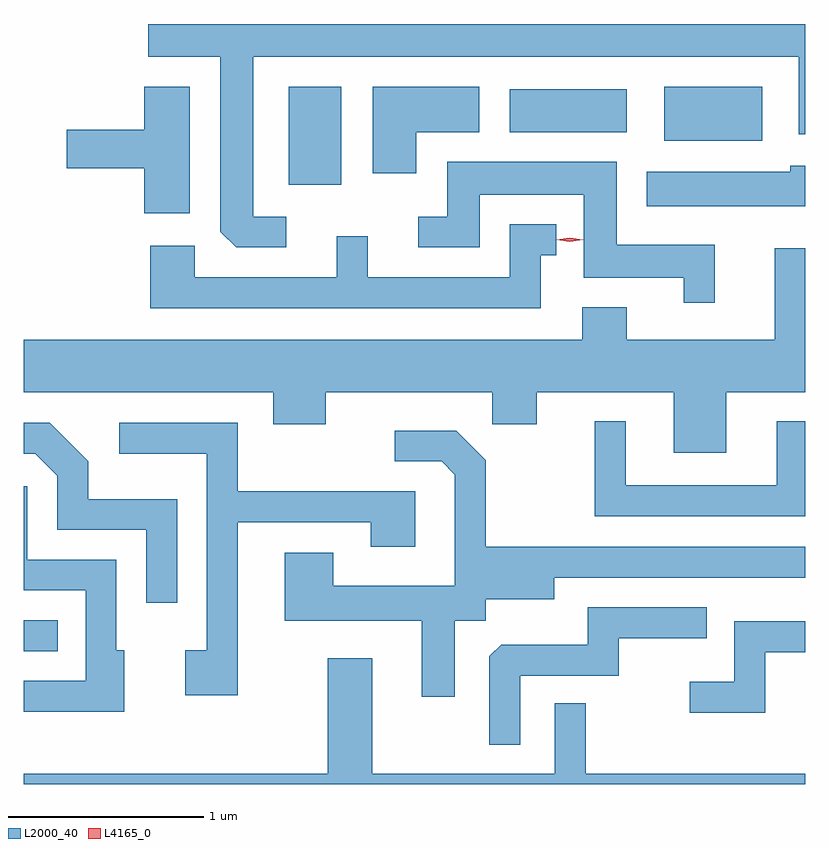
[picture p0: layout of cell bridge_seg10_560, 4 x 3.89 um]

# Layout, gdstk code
import gdstk
lib = gdstk.Library(unit=1e-6, precision=1e-09)
def R(c, l, rs):  # rectangles x0, y0, x1, y1
    for r in rs: c.add(gdstk.rectangle(r[:2], r[2:], *l))
def P(c, l, *ps):  # polygons
    for p in ps: c.add(gdstk.Polygon(p, *l))
L2000_40 = (2000, 40)
L4165_0 = (4165, 0)

bridge_seg10_560 = lib.new_cell('bridge_seg10_560')
R(bridge_seg10_560, L2000_40, [(657.934,2156.991,658.108,2157.149), (659.291,2159.376,659.559,2159.879), (661.211,2159.601,661.714,2159.879), (660.421,2159.646,661.019,2159.864)])
P(bridge_seg10_560, L2000_40, [(659.278,2159.214),(659.109,2159.214),(659.109,2160.031),(661.901,2160.031),(661.901,2159.636),(661.934,2159.636),(661.934,2160.199),(658.573,2160.199),(658.573,2160.031),(658.941,2160.031),(658.941,2159.137),(659.022,2159.056),(659.278,2159.056)],
  [(658.784,2159.879),(658.551,2159.879),(658.551,2159.659),(658.156,2159.659),(658.156,2159.461),(658.551,2159.461),(658.551,2159.231),(658.784,2159.231)],
  [(659.944,2159.646),(660.264,2159.646),(660.264,2159.879),(659.721,2159.879),(659.721,2159.436),(659.944,2159.436)],
  [(661.469,2159.069),(660.969,2159.069),(660.969,2159.494),(660.101,2159.494),(660.101,2159.214),(659.953,2159.214),(659.953,2159.056),(660.269,2159.056),(660.269,2159.326),(660.801,2159.326),(660.801,2158.901),(661.311,2158.901),(661.311,2158.773),(661.469,2158.773)],
  [(661.934,2159.474),(661.856,2159.474),(661.856,2159.444),(661.121,2159.444),(661.121,2159.266),(661.934,2159.266)],
  [(660.579,2159.016),(660.658,2159.016),(660.658,2159.174),(660.421,2159.174),(660.421,2158.904),(659.694,2158.904),(659.694,2159.113),(659.536,2159.113),(659.536,2158.904),(658.809,2158.904),(658.809,2159.064),(658.581,2159.064),(658.581,2158.746),(660.579,2158.746)],
  [(661.529,2158.316),(661.934,2158.316),(661.934,2159.053),(661.776,2159.053),(661.776,2158.584),(661.019,2158.584),(661.019,2158.749),(660.791,2158.749),(660.791,2158.584),(657.934,2158.584),(657.934,2158.316),(659.211,2158.316),(659.211,2158.151),(659.479,2158.151),(659.479,2158.316),(660.331,2158.316),(660.331,2158.151),(660.559,2158.151),(660.559,2158.316),(661.261,2158.316),(661.261,2158.006),(661.529,2158.006)],
  [(661.934,2158.168),(661.786,2158.168),(661.786,2157.839),(661.014,2157.839),(661.014,2158.168),(660.856,2158.168),(660.856,2157.681),(661.934,2157.681)],
  [(658.719,2157.769),(658.264,2157.769),(658.264,2157.962),(658.067,2158.159),(657.934,2158.159),(657.934,2158.001),(657.994,2158.001),(658.106,2157.889),(658.106,2157.611),(658.561,2157.611),(658.561,2157.238),(658.719,2157.238)],
  [(659.029,2157.651),(659.711,2157.651),(659.711,2157.526),(659.939,2157.526),(659.939,2157.809),(659.029,2157.809),(659.029,2158.159),(658.423,2158.159),(658.423,2158.001),(658.871,2158.001),(658.871,2156.994),(658.761,2156.994),(658.761,2156.766),(659.029,2156.766)],
  [(660.139,2157.146),(660.299,2157.146),(660.299,2157.256),(660.649,2157.256),(660.649,2157.366),(661.934,2157.366),(661.934,2157.524),(660.299,2157.524),(660.299,2157.967),(660.147,2158.119),(659.833,2158.119),(659.833,2157.961),(660.074,2157.961),(660.141,2157.894),(660.141,2157.324),(659.519,2157.324),(659.519,2157.494),(659.271,2157.494),(659.271,2157.146),(659.971,2157.146),(659.971,2156.758),(660.139,2156.758)],
  [(658.449,2156.994),(658.409,2156.994),(658.409,2157.459),(657.954,2157.459),(657.954,2157.833),(657.934,2157.833),(657.934,2157.301),(658.251,2157.301),(658.251,2156.839),(657.934,2156.839),(657.934,2156.681),(658.449,2156.681)],
  [(660.474,2156.866),(660.979,2156.866),(660.979,2157.056),(661.428,2157.056),(661.428,2157.214),(660.821,2157.214),(660.821,2157.024),(660.377,2157.024),(660.316,2156.964),(660.316,2156.513),(660.474,2156.513)],
  [(661.729,2156.986),(661.934,2156.986),(661.934,2157.144),(661.571,2157.144),(661.571,2156.834),(661.343,2156.834),(661.343,2156.676),(661.729,2156.676)],
  [(661.934,2156.364),(660.809,2156.364),(660.809,2156.723),(660.651,2156.723),(660.651,2156.364),(659.719,2156.364),(659.719,2156.954),(659.491,2156.954),(659.491,2156.364),(657.934,2156.364),(657.934,2156.311),(661.934,2156.311)])
P(bridge_seg10_560, L4165_0, [(660.728,2159.086),(660.659,2159.095),(660.659,2159.095),(660.659,2159.096),(660.728,2159.106),(660.798,2159.096),(660.798,2159.096),(660.798,2159.095)])

lib.write_gds('bridge_seg10_560.gds')
